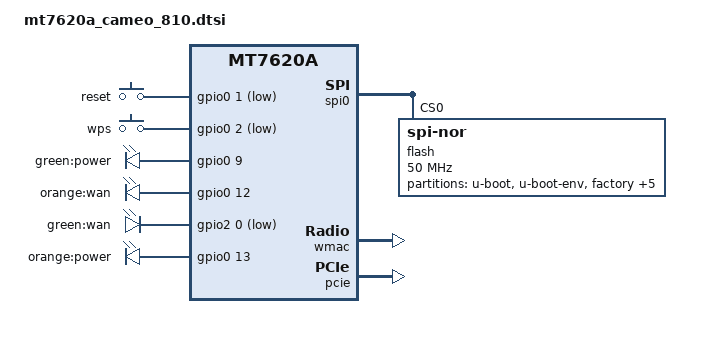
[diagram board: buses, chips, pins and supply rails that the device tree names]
// SPDX-License-Identifier: GPL-2.0-or-later OR MIT

#include "mt7620a.dtsi"

#include <dt-bindings/gpio/gpio.h>
#include <dt-bindings/input/input.h>

/ {
	aliases {
		label-mac-device = &ethernet;
		led-boot = &led_power_green;
		led-failsafe = &led_power_green;
		led-running = &led_power_green;
		led-upgrade = &led_power_green;
	};

	keys {
		compatible = "gpio-keys";

		reset {
			label = "reset";
			gpios = <&gpio0 1 GPIO_ACTIVE_LOW>;
			linux,code = <KEY_RESTART>;
		};

		wps {
			label = "wps";
			gpios = <&gpio0 2 GPIO_ACTIVE_LOW>;
			linux,code = <KEY_WPS_BUTTON>;
		};
	};

	leds {
		compatible = "gpio-leds";

		led_power_green: power_green {
			label = "green:power";
			gpios = <&gpio0 9 GPIO_ACTIVE_HIGH>;
		};

		wan_orange {
			label = "orange:wan";
			gpios = <&gpio0 12 GPIO_ACTIVE_HIGH>;
		};

		wan_green {
			label = "green:wan";
			gpios = <&gpio2 0 GPIO_ACTIVE_LOW>;
		};

		power_orange {
			label = "orange:power";
			gpios = <&gpio0 13 GPIO_ACTIVE_HIGH>;
		};
	};
};

&spi0 {
	status = "okay";

	flash@0 {
		compatible = "jedec,spi-nor";
		reg = <0>;
		spi-max-frequency = <50000000>;

		partitions {
			compatible = "fixed-partitions";
			#address-cells = <1>;
			#size-cells = <1>;

			partition@0 {
				label = "u-boot";
				reg = <0x0 0x30000>;
				read-only;
			};

			partition@30000 {
				label = "u-boot-env";
				reg = <0x30000 0x10000>;
				read-only;
			};

			factory: partition@40000 {
				label = "factory";
				reg = <0x40000 0x10000>;
				read-only;
			};

			factory5g: partition@50000 {
				label = "factory5g";
				reg = <0x50000 0x10000>;
				read-only;
			};

			partition@60000 {
				label = "Wolf_Config";
				reg = <0x60000 0x10000>;
				read-only;
			};

			partition@70000 {
				label = "MyDlink";
				reg = <0x70000 0x80000>;
				read-only;
			};

			partition@f0000 {
				label = "Jffs2";
				reg = <0xf0000 0x80000>;
				read-only;
			};

			partition@170000 {
				compatible = "denx,uimage";
				label = "firmware";
				reg = <0x170000 0x690000>;
			};
		};
	};
};

&state_default {
	gpio {
		groups = "i2c", "uartf", "ephy";
		function = "gpio";
	};
};

&ethernet {
	nvmem-cells = <&macaddr_factory_28>;
	nvmem-cell-names = "mac-address";

	mediatek,portmap = "llllw";
};

&gpio2 {
	status = "okay";
};

&wmac {
	pinctrl-names = "default", "pa_gpio";
	pinctrl-0 = <&pa_pins>;
	pinctrl-1 = <&pa_gpio_pins>;

	ralink,mtd-eeprom = <&factory 0x0>;
	nvmem-cells = <&macaddr_factory_28>;
	nvmem-cell-names = "mac-address";
};

&pcie {
	status = "okay";
};

&pcie0 {
	wifi@0,0 {
		reg = <0x0000 0 0 0 0>;
		mediatek,mtd-eeprom = <&factory 0x8000>;
		ieee80211-freq-limit = <5000000 6000000>;
		nvmem-cells = <&macaddr_factory_28>;
		nvmem-cell-names = "mac-address";
		mac-address-increment = <2>;
	};
};

&factory {
	compatible = "nvmem-cells";
	#address-cells = <1>;
	#size-cells = <1>;

	macaddr_factory_28: macaddr@28 {
		reg = <0x28 0x6>;
	};
};
